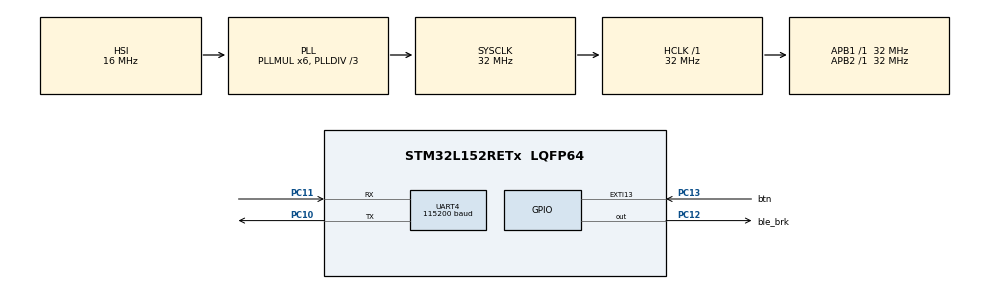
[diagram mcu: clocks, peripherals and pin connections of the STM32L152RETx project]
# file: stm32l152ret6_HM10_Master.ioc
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Dma.Request0=UART4_RX
Dma.UART4_RX.0.Direction=DMA_PERIPH_TO_MEMORY
Dma.UART4_RX.0.Instance=DMA2_Channel3
Dma.UART4_RX.0.MemDataAlignment=DMA_MDATAALIGN_BYTE
Dma.UART4_RX.0.MemInc=DMA_MINC_ENABLE
Dma.UART4_RX.0.Mode=DMA_NORMAL
Dma.UART4_RX.0.PeriphDataAlignment=DMA_PDATAALIGN_BYTE
Dma.UART4_RX.0.PeriphInc=DMA_PINC_DISABLE
Dma.UART4_RX.0.Priority=DMA_PRIORITY_LOW
Mcu.Family=STM32L1
Mcu.Name=STM32L152RETx
Mcu.Package=LQFP64
NVIC.DMA2_Channel3_IRQn=true\:1\:0\:true\:false\:true\:false\:true\:true
NVIC.EXTI15_10_IRQn=true\:0\:0\:false\:false\:true\:true\:true\:true
NVIC.PriorityGroup=NVIC_PRIORITYGROUP_4
NVIC.TIM2_IRQn=true\:0\:0\:false\:false\:true\:true\:true\:true
NVIC.TIM4_IRQn=true\:3\:0\:true\:false\:true\:true\:true\:true
NVIC.UART4_IRQn=true\:0\:0\:false\:false\:true\:true\:true\:true
PA13.Mode=Serial_Wire
PA13.Signal=SYS_JTMS-SWDIO
PA14.Mode=Serial_Wire
PA14.Signal=SYS_JTCK-SWCLK
PC10.Mode=Asynchronous
PC10.Signal=UART4_TX
PC11.Mode=Asynchronous
PC11.Signal=UART4_RX
PC12.GPIO_Label=ble_brk
PC12.Signal=GPIO_Output
PC13-WKUP2.GPIO_Label=btn
PC13-WKUP2.GPIO_PuPd=GPIO_PULLUP
PC13-WKUP2.Signal=GPXTI13
ProjectManager.HeapSize=0x200
ProjectManager.StackSize=0x400
ProjectManager.TargetToolchain=STM32CubeIDE
RCC.48MHZClocksFreq_Value=48000000
RCC.AHBFreq_Value=32000000
RCC.APB1Freq_Value=32000000
RCC.APB1TimFreq_Value=32000000
RCC.APB2Freq_Value=32000000
RCC.APB2TimFreq_Value=32000000
RCC.HCLKFreq_Value=32000000
RCC.HSE_VALUE=24000000
RCC.HSI_VALUE=16000000
RCC.LSE_VALUE=32768
RCC.MSI_VALUE=2097000
RCC.PLLDIV=RCC_PLL_DIV3
RCC.PLLMUL=RCC_PLL_MUL6
RCC.SYSCLKFreq_VALUE=32000000
RCC.SYSCLKSource=RCC_SYSCLKSOURCE_PLLCLK
RCC.VCOOutputFreq_Value=96000000
TIM2.Prescaler=31
TIM4.Period=2000
TIM4.Prescaler=31999
UART4.BaudRate=115200
UART4.VirtualMode=Asynchronous
VP_TIM2_VS_ClockSourceINT.Mode=Internal
VP_TIM4_VS_ClockSourceINT.Mode=Internal
board=custom

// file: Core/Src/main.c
/* USER CODE BEGIN Header */
/**
  ******************************************************************************
  * @file           : main.c
  * @brief          : Main program body
  ******************************************************************************
  * @attention
  *
  * Copyright (c) 2024 STMicroelectronics.
  * All rights reserved.
  *
  * This software is licensed under terms that can be found in the LICENSE file
  * in the root directory of this software component.
  * If no LICENSE file comes with this software, it is provided AS-IS.
  *
  ******************************************************************************
  */
/* USER CODE END Header */
#include "main.h"

/* USER CODE BEGIN Includes */
#include <string.h>
#include "HM-10/recieveData.h"
#include "HM-10/HM10_Setup.h"
#include "st7789/st7789_Views/st7789_Data_Views.h"
/* USER CODE END Includes */

TIM_HandleTypeDef htim2;
TIM_HandleTypeDef htim4;

UART_HandleTypeDef huart4;
DMA_HandleTypeDef hdma_uart4_rx;

/* USER CODE BEGIN PV */
volatile uint8_t isConnected = 0;
volatile uint8_t msgType = 0;

char temp[10] = {'\0'};
char rssi[10] = {'\0'};

uint16_t currPingTx = -1;
char * ping = "ping";
char currPingTxStr[20];
char currentTxBuf[50];
/* USER CODE END PV */

void SystemClock_Config(void);
static void MX_GPIO_Init(void);
static void MX_DMA_Init(void);
static void MX_TIM2_Init(void);
static void MX_UART4_Init(void);
static void MX_TIM4_Init(void);

int main(void)
{

  /* MCU Configuration--------------------------------------------------------*/

  /* Reset of all peripherals, Initializes the Flash interface and the Systick. */
  HAL_Init();

  /* Configure the system clock */
  SystemClock_Config();

  /* Initialize all configured peripherals */
  MX_GPIO_Init();
  MX_DMA_Init();
  MX_TIM2_Init();
  MX_UART4_Init();
  MX_TIM4_Init();
  /* USER CODE BEGIN 2 */
  HAL_TIM_Base_Start(&htim2);

  CMSIS_GPIO_init();
  CMSIS_SPI1_init();
  st7789_init();

  st7789_DrawStartScreen();
  if (setupMaster(&huart4, ble_brk_GPIO_Port, ble_brk_Pin) != OK) {
	  st7789_DrawErrScreen();
	  return HM10_ERROR;
  }

  st7789_DrawBleConnScreen();

  connectOtherHM10(&huart4);
  isConnected = 1;

  st7789_DrawDataScreen();

  HAL_UARTEx_ReceiveToIdle_DMA(&huart4, rxBuf, rxBuf_SIZE);
  __HAL_DMA_DISABLE_IT(&hdma_uart4_rx, DMA_IT_HT);

  HAL_TIM_Base_Start_IT(&htim4);

  /* USER CODE END 2 */

  /* Infinite loop */
  while (1)
  {

  }
}

void SystemClock_Config(void)
{
  RCC_OscInitTypeDef RCC_OscInitStruct = {0};
  RCC_ClkInitTypeDef RCC_ClkInitStruct = {0};

  /** Configure the main internal regulator output voltage
  */
  __HAL_PWR_VOLTAGESCALING_CONFIG(PWR_REGULATOR_VOLTAGE_SCALE1);

  /** Initializes the RCC Oscillators according to the specified parameters
  * in the RCC_OscInitTypeDef structure.
  */
  RCC_OscInitStruct.OscillatorType = RCC_OSCILLATORTYPE_HSI;
  RCC_OscInitStruct.HSIState = RCC_HSI_ON;
  RCC_OscInitStruct.HSICalibrationValue = RCC_HSICALIBRATION_DEFAULT;
  RCC_OscInitStruct.PLL.PLLState = RCC_PLL_ON;
  RCC_OscInitStruct.PLL.PLLSource = RCC_PLLSOURCE_HSI;
  RCC_OscInitStruct.PLL.PLLMUL = RCC_PLL_MUL6;
  RCC_OscInitStruct.PLL.PLLDIV = RCC_PLL_DIV3;
  if (HAL_RCC_OscConfig(&RCC_OscInitStruct) != HAL_OK)
  {
    Error_Handler();
  }

  /** Initializes the CPU, AHB and APB buses clocks
  */
  RCC_ClkInitStruct.ClockType = RCC_CLOCKTYPE_HCLK|RCC_CLOCKTYPE_SYSCLK
                              |RCC_CLOCKTYPE_PCLK1|RCC_CLOCKTYPE_PCLK2;
  RCC_ClkInitStruct.SYSCLKSource = RCC_SYSCLKSOURCE_PLLCLK;
  RCC_ClkInitStruct.AHBCLKDivider = RCC_SYSCLK_DIV1;
  RCC_ClkInitStruct.APB1CLKDivider = RCC_HCLK_DIV1;
  RCC_ClkInitStruct.APB2CLKDivider = RCC_HCLK_DIV1;

  if (HAL_RCC_ClockConfig(&RCC_ClkInitStruct, FLASH_LATENCY_1) != HAL_OK)
  {
    Error_Handler();
  }
}

static void MX_TIM2_Init(void)
{

  TIM_ClockConfigTypeDef sClockSourceConfig = {0};
  TIM_MasterConfigTypeDef sMasterConfig = {0};

  htim2.Instance = TIM2;
  htim2.Init.Prescaler = 31;
  htim2.Init.CounterMode = TIM_COUNTERMODE_UP;
  htim2.Init.Period = 65535;
  htim2.Init.ClockDivision = TIM_CLOCKDIVISION_DIV1;
  htim2.Init.AutoReloadPreload = TIM_AUTORELOAD_PRELOAD_DISABLE;
  if (HAL_TIM_Base_Init(&htim2) != HAL_OK)
  {
    Error_Handler();
  }
  sClockSourceConfig.ClockSource = TIM_CLOCKSOURCE_INTERNAL;
  if (HAL_TIM_ConfigClockSource(&htim2, &sClockSourceConfig) != HAL_OK)
  {
    Error_Handler();
  }
  sMasterConfig.MasterOutputTrigger = TIM_TRGO_RESET;
  sMasterConfig.MasterSlaveMode = TIM_MASTERSLAVEMODE_DISABLE;
  if (HAL_TIMEx_MasterConfigSynchronization(&htim2, &sMasterConfig) != HAL_OK)
  {
    Error_Handler();
  }

}

static void MX_TIM4_Init(void)
{

  TIM_ClockConfigTypeDef sClockSourceConfig = {0};
  TIM_MasterConfigTypeDef sMasterConfig = {0};

  htim4.Instance = TIM4;
  htim4.Init.Prescaler = 31999;
  htim4.Init.CounterMode = TIM_COUNTERMODE_UP;
  htim4.Init.Period = 2000;
  htim4.Init.ClockDivision = TIM_CLOCKDIVISION_DIV1;
  htim4.Init.AutoReloadPreload = TIM_AUTORELOAD_PRELOAD_DISABLE;
  if (HAL_TIM_Base_Init(&htim4) != HAL_OK)
  {
    Error_Handler();
  }
  sClockSourceConfig.ClockSource = TIM_CLOCKSOURCE_INTERNAL;
  if (HAL_TIM_ConfigClockSource(&htim4, &sClockSourceConfig) != HAL_OK)
  {
    Error_Handler();
  }
  sMasterConfig.MasterOutputTrigger = TIM_TRGO_RESET;
  sMasterConfig.MasterSlaveMode = TIM_MASTERSLAVEMODE_DISABLE;
  if (HAL_TIMEx_MasterConfigSynchronization(&htim4, &sMasterConfig) != HAL_OK)
  {
    Error_Handler();
  }

}

static void MX_UART4_Init(void)
{

  huart4.Instance = UART4;
  huart4.Init.BaudRate = 115200;
  huart4.Init.WordLength = UART_WORDLENGTH_8B;
  huart4.Init.StopBits = UART_STOPBITS_1;
  huart4.Init.Parity = UART_PARITY_NONE;
  huart4.Init.Mode = UART_MODE_TX_RX;
  huart4.Init.HwFlowCtl = UART_HWCONTROL_NONE;
  huart4.Init.OverSampling = UART_OVERSAMPLING_16;
  if (HAL_UART_Init(&huart4) != HAL_OK)
  {
    Error_Handler();
  }

}

static void MX_DMA_Init(void)
{

  /* DMA controller clock enable */
  __HAL_RCC_DMA2_CLK_ENABLE();

  /* DMA interrupt init */
  /* DMA2_Channel3_IRQn interrupt configuration */
  HAL_NVIC_SetPriority(DMA2_Channel3_IRQn, 1, 0);
  HAL_NVIC_EnableIRQ(DMA2_Channel3_IRQn);

}

static void MX_GPIO_Init(void)
{
  GPIO_InitTypeDef GPIO_InitStruct = {0};

  /* GPIO Ports Clock Enable */
  __HAL_RCC_GPIOC_CLK_ENABLE();
  __HAL_RCC_GPIOA_CLK_ENABLE();

  /*Configure GPIO pin Output Level */
  HAL_GPIO_WritePin(ble_brk_GPIO_Port, ble_brk_Pin, GPIO_PIN_RESET);

  /*Configure GPIO pin : btn_Pin */
  GPIO_InitStruct.Pin = btn_Pin;
  GPIO_InitStruct.Mode = GPIO_MODE_IT_RISING;
  GPIO_InitStruct.Pull = GPIO_PULLUP;
  HAL_GPIO_Init(btn_GPIO_Port, &GPIO_InitStruct);

  /*Configure GPIO pin : ble_brk_Pin */
  GPIO_InitStruct.Pin = ble_brk_Pin;
  GPIO_InitStruct.Mode = GPIO_MODE_OUTPUT_PP;
  GPIO_InitStruct.Pull = GPIO_NOPULL;
  GPIO_InitStruct.Speed = GPIO_SPEED_FREQ_LOW;
  HAL_GPIO_Init(ble_brk_GPIO_Port, &GPIO_InitStruct);

  /* EXTI interrupt init*/
  HAL_NVIC_SetPriority(EXTI15_10_IRQn, 0, 0);
  HAL_NVIC_EnableIRQ(EXTI15_10_IRQn);

}

/* USER CODE BEGIN 4 */
void HAL_UARTEx_RxEventCallback(UART_HandleTypeDef *huart, uint16_t Size) {
	if (huart==&huart4) {
		UART4_RxCpltCallback(huart, Size);
	}
}

void HAL_TIM_PeriodElapsedCallback(TIM_HandleTypeDef *htim) {
	if(htim==&htim4) {
		if (isConnected) {
			switch (msgType) {
				case 0:
					HAL_UART_Transmit(&huart4, getCommand(TEMP_GET), strlen((char *) getCommand(TEMP_GET)), 0x1000);
					break;
				case 3:
					HAL_UART_Transmit(&huart4, getCommand(RSSI_GET), strlen((char *) getCommand(RSSI_GET)), 0x1000);
					break;
				default:
					transmitPing();
					break;
			}
		}
	}
}

void HAL_GPIO_EXTI_Callback(uint16_t GPIO_Pin) {
	if(GPIO_Pin == btn_Pin) {
		checkConnection(&huart4);
	}
}

void transmitPing() {
	currPingTx++;
	snprintf(currPingTxStr, sizeof(currPingTxStr), "%d", currPingTx);
	strcat(currentTxBuf, ping);
	strcat(currentTxBuf, currPingTxStr);

	HAL_UART_Transmit(&huart4, (uint8_t *) currentTxBuf, 100, 0xFFFF);
	memset(currentTxBuf, 0, 50);
}
/* USER CODE END 4 */

void Error_Handler(void)
{
  __disable_irq();
  while (1)
  {
  }
}
